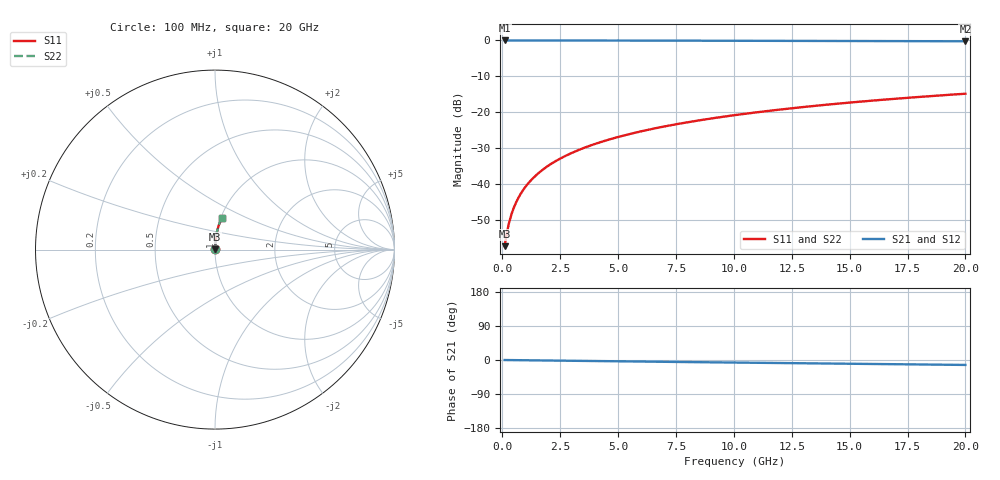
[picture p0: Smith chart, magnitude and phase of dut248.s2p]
! Touchstone file exported from HFSS 2024.1.0
!  File:  C:/UserFiles/LocalFiles/RDL_TSV_Batchsim/temp_RDL_bottom_248_1778701576.aedt
!  Generated:  03:48:46 AM May 14, 2026
!  Design:  RDL_bottom
!  Project:  temp_RDL_bottom_248_1778701576
!  Setup:  Setup1
!  Solution:  Sweep
! Variables:
!  dtsv = 10.80580581um
!  hbump = 3um
!  htsv = 83.83um
!  ldown = 119.78um
!  lrdl = 100um
!  p = 40
!  p1 = 52.72um
!  rhole = 1um
!  t = 450um
!  tdown = 4.3um
!  trdl = 3.915915916um
!  wdown = 11.48um
!  wrdl = 20um
# GHz S MA R 50.000000
! Terminal data exported
! Port[1] = RDL1_T1
! Port[2] = RDL1_T2
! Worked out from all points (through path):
!   200 points, 100 MHz to 20 GHz, reference 50 ohm
!   highest |S21| = -0.01 dB at 100 MHz (marker M1); lowest = -0.2 dB at 20 GHz (marker M2)
!   group delay of S21, straight-line fit = 1.8 ps
!   lowest |S11| = -57.4 dB at 100 MHz (marker M3), VSWR 1.00, Z = 50.1 + j0.0924 ohm
!   |S11| at or under -10 dB: start of sweep to end of sweep
!   |S22| runs from -57.4 to -14.9 dB; largest |S21 - S12| = 2.7e-15
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0.1  0.001353 43.0  0.999 -0.1  0.999 -0.1  0.001353 43.0
! Gamma 0 0 0 0
! Port Impedance 50 0 50 0
0.2  0.002096 61.3  0.999 -0.1  0.999 -0.1  0.002096 61.3
0.3  0.002933 69.5  0.999 -0.2  0.999 -0.2  0.002933 69.5
0.4  0.003797 74.0  0.9989 -0.3  0.9989 -0.3  0.003797 74.0
0.5  0.004671 76.8  0.9989 -0.4  0.9989 -0.4  0.004671 76.8
0.6  0.00555 78.7  0.9989 -0.4  0.9989 -0.4  0.00555 78.7
0.8  0.007317 81.1  0.9988 -0.6  0.9988 -0.6  0.007317 81.1
1.1  0.009981 83.2  0.9987 -0.8  0.9987 -0.8  0.009981 83.2
1.5  0.01355 84.6  0.9986 -1.1  0.9986 -1.1  0.01355 84.6
1.8  0.01623 85.2  0.9985 -1.3  0.9985 -1.3  0.01623 85.2
2.1  0.01892 85.6  0.9983 -1.5  0.9983 -1.5  0.01892 85.6
2.7  0.0243 86.1  0.998 -1.9  0.998 -1.9  0.0243 86.1
3.5  0.03149 86.3  0.9974 -2.4  0.9974 -2.4  0.03149 86.3
4.2  0.0378 86.2  0.9968 -2.9  0.9968 -2.9  0.0378 86.2
5  0.04502 86.1  0.996 -3.5  0.996 -3.5  0.04502 86.1
5.9  0.05316 85.8  0.995 -4.1  0.995 -4.1  0.05316 85.8
6.8  0.06133 85.5  0.9939 -4.7  0.9939 -4.7  0.06133 85.5
8.3  0.07498 84.9  0.9919 -5.6  0.9919 -5.6  0.07498 84.9
10.1  0.09139 84.0  0.9894 -6.8  0.9894 -6.8  0.09139 84.0
13.4  0.1215 82.1  0.9843 -8.9  0.9843 -8.9  0.1215 82.1
16.7  0.1513 80.1  0.9787 -11.0  0.9787 -11.0  0.1513 80.1
20  0.1807 78.0  0.9725 -13.0  0.9725 -13.0  0.1807 78.0
